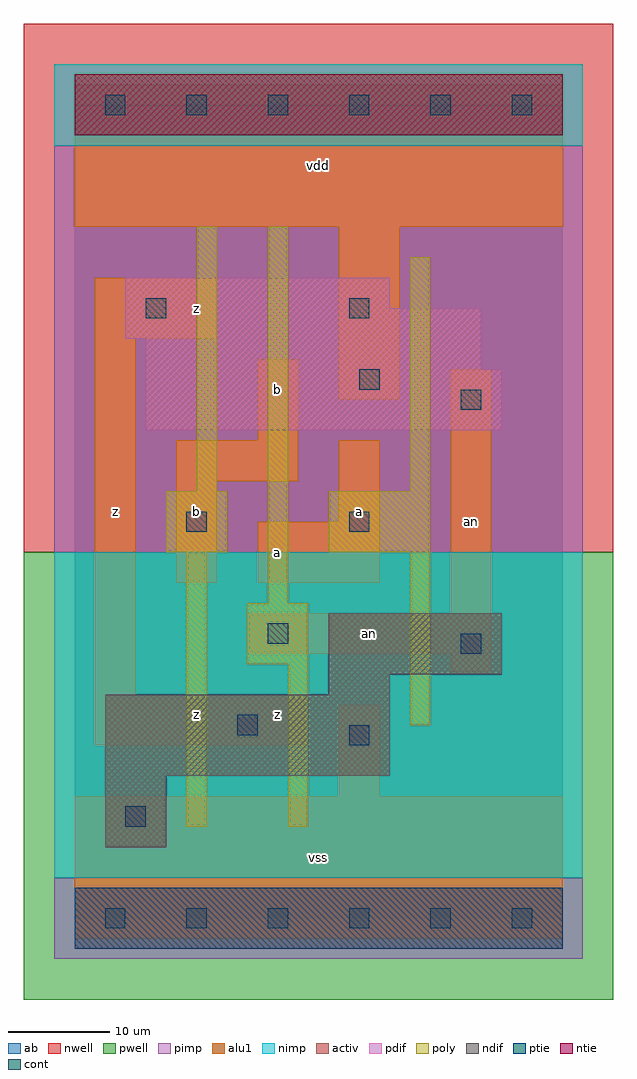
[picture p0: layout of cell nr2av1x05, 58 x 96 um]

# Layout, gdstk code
import gdstk
lib = gdstk.Library(unit=1e-6, precision=1e-09)
def R(c, l, rs):  # rectangles x0, y0, x1, y1
    for r in rs: c.add(gdstk.rectangle(r[:2], r[2:], *l))
def A(c, l, x, y, w, h, nx, ny, dx, dy):  # array of equal rectangles
    R(c, l, [(x+i*dx, y+j*dy, x+i*dx+w, y+j*dy+h) for i in range(nx) for j in range(ny)])
ndif = (3, 0)
pdif = (4, 0)
ntie = (5, 0)
ptie = (6, 0)
cont = (25, 0)
pwell = (41, 0)
nwell = (42, 0)
activ = (43, 0)
pimp = (44, 0)
nimp = (45, 0)
poly = (46, 0)
alu1 = (49, 0)
ab = (63, 0)

nr2av1x05 = lib.new_cell('nr2av1x05')
R(nr2av1x05, ndif, [(3,7,9,14), (3,14,31,22), (25,22,31,24), (25,24,42,30)])
R(nr2av1x05, pdif, [(7,48,42,54), (7,54,40,57), (5,57,40,60), (5,60,31,63)])
R(nr2av1x05, ntie, [(0,77,48,83)])
R(nr2av1x05, ptie, [(0,-3,48,3)])
A(nr2av1x05, cont, 3, -1, 2, 2, 6, 2, 8, 80)
A(nr2av1x05, cont, 27, 17, 2, 2, 1, 3, 0, 21)
R(nr2av1x05, cont, [(5,9,7,11), (16,18,18,20), (38,26,40,28), (19,27,21,29), (11,38,13,40), (38,50,40,52), (28,52,30,54), (7,59,9,61)])
R(nr2av1x05, pwell, [(-5,-8,53,36)])
R(nr2av1x05, nwell, [(-5,36,53,88)])
R(nr2av1x05, activ, [(0,-3,48,3), (3,7,9,14), (3,14,31,22), (25,22,31,24), (25,24,42,30), (7,48,42,54), (7,54,40,57), (5,57,40,60), (5,60,31,63), (0,77,48,83)])
R(nr2av1x05, pimp, [(-2,-4,50,4), (-2,36,50,76)])
R(nr2av1x05, nimp, [(-2,4,50,36), (-2,76,50,84)])
R(nr2av1x05, poly, [(11,9,13,36), (21,9,23,25), (33,19,35,36), (17,25,23,31), (19,31,21,68), (9,36,15,42), (25,36,35,42), (12,42,14,68), (33,42,35,65)])
R(nr2av1x05, alu1, [(0,-2,48,12), (26,12,30,21), (2,17,23,22), (2,22,6,57), (37,24,41,26), (17,26,41,30), (37,30,41,54), (10,33,14,43), (18,33,30,39), (26,39,30,47), (10,43,22,47), (18,47,22,55), (26,51,32,68), (2,57,14,63), (0,68,48,82)])
R(nr2av1x05, ab, [(0,0,48,80)])
nr2av1x05.add(gdstk.Label('an', (29,28), layer=49, texttype=0))
nr2av1x05.add(gdstk.Label('an', (39,39), layer=49, texttype=0))
nr2av1x05.add(gdstk.Label('z', (4,40), layer=49, texttype=0))
nr2av1x05.add(gdstk.Label('z', (20,20), layer=49, texttype=0))
nr2av1x05.add(gdstk.Label('z', (12,20), layer=49, texttype=0))
nr2av1x05.add(gdstk.Label('a', (20,36), layer=49, texttype=0))
nr2av1x05.add(gdstk.Label('b', (12,40), layer=49, texttype=0))
nr2av1x05.add(gdstk.Label('b', (20,52), layer=49, texttype=0))
nr2av1x05.add(gdstk.Label('z', (12,60), layer=49, texttype=0))
nr2av1x05.add(gdstk.Label('vss', (24,6), layer=49, texttype=0))
nr2av1x05.add(gdstk.Label('a', (28,40), layer=49, texttype=0))
nr2av1x05.add(gdstk.Label('vdd', (24,74), layer=49, texttype=0))

lib.write_gds('nr2av1x05.gds')
